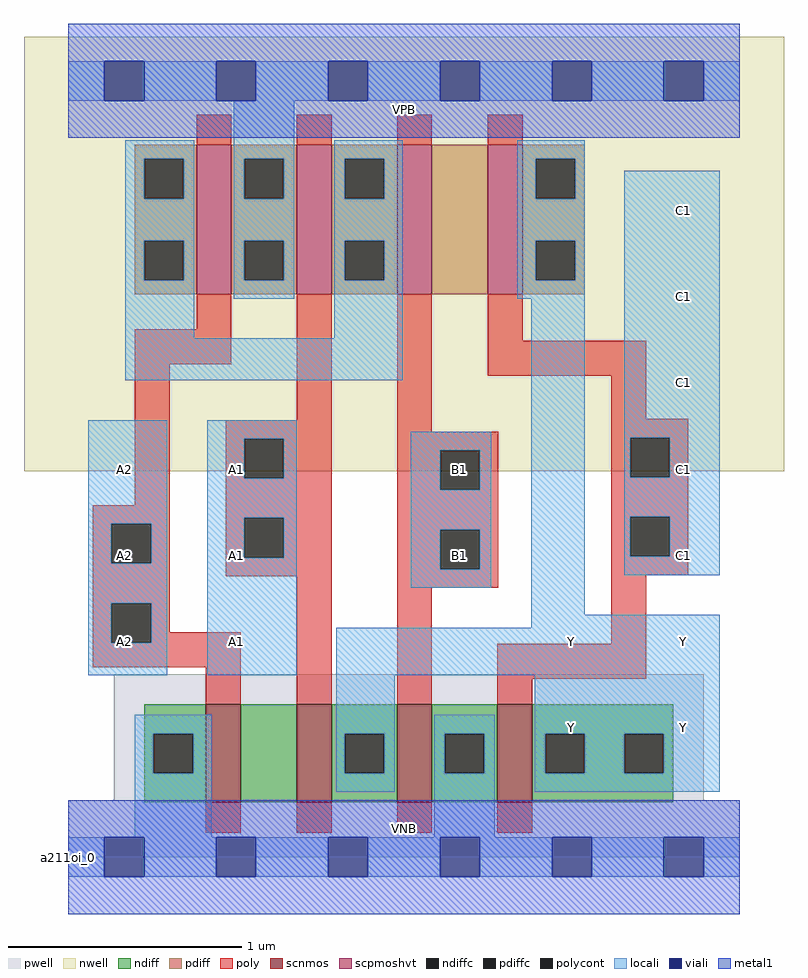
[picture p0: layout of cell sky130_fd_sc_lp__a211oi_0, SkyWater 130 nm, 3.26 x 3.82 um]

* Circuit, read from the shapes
.subckt sky130_fd_sc_lp__a211oi_0 A1 A2 B1 C1 VGND VNB VPB VPWR Y
XM1 n1 A2 VGND VNB sky130_fd_pr__nfet_01v8 w=0.42 l=0.15
XM2 Y A1 n1 VNB sky130_fd_pr__nfet_01v8 w=0.42 l=0.15
XM3 VGND B1 Y VNB sky130_fd_pr__nfet_01v8 w=0.42 l=0.15
XM4 Y C1 VGND VNB sky130_fd_pr__nfet_01v8 w=0.42 l=0.15
XM5 VPWR A2 n2 VPB sky130_fd_pr__pfet_01v8_hvt w=0.64 l=0.15
XM6 n2 A1 VPWR VPB sky130_fd_pr__pfet_01v8_hvt w=0.64 l=0.15
XM7 n3 B1 n2 VPB sky130_fd_pr__pfet_01v8_hvt w=0.64 l=0.15
XM8 Y C1 n3 VPB sky130_fd_pr__pfet_01v8_hvt w=0.64 l=0.15
.ends

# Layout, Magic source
magic
tech sky130A
magscale 1 2
<< nwell >>
rect -38 331 614 704
<< pwell >>
rect 39 49 545 157
rect 0 0 576 49
<< scnmos >>
rect 118 47 148 131
rect 196 47 226 131
rect 282 47 312 131
rect 368 47 398 131
<< scpmoshvt >>
rect 110 483 140 611
rect 196 483 226 611
rect 282 483 312 611
rect 360 483 390 611
<< ndiff >>
rect 65 106 118 131
rect 65 72 73 106
rect 107 72 118 106
rect 65 47 118 72
rect 148 47 196 131
rect 226 106 282 131
rect 226 72 237 106
rect 271 72 282 106
rect 226 47 282 72
rect 312 106 368 131
rect 312 72 323 106
rect 357 72 368 106
rect 312 47 368 72
rect 398 106 519 131
rect 398 72 409 106
rect 443 72 477 106
rect 511 72 519 106
rect 398 47 519 72
<< pdiff >>
rect 57 599 110 611
rect 57 565 65 599
rect 99 565 110 599
rect 57 529 110 565
rect 57 495 65 529
rect 99 495 110 529
rect 57 483 110 495
rect 140 599 196 611
rect 140 565 151 599
rect 185 565 196 599
rect 140 529 196 565
rect 140 495 151 529
rect 185 495 196 529
rect 140 483 196 495
rect 226 599 282 611
rect 226 565 237 599
rect 271 565 282 599
rect 226 529 282 565
rect 226 495 237 529
rect 271 495 282 529
rect 226 483 282 495
rect 312 483 360 611
rect 390 599 443 611
rect 390 565 401 599
rect 435 565 443 599
rect 390 529 443 565
rect 390 495 401 529
rect 435 495 443 529
rect 390 483 443 495
<< ndiffc >>
rect 73 72 107 106
rect 237 72 271 106
rect 323 72 357 106
rect 409 72 443 106
rect 477 72 511 106
<< pdiffc >>
rect 65 565 99 599
rect 65 495 99 529
rect 151 565 185 599
rect 151 495 185 529
rect 237 565 271 599
rect 237 495 271 529
rect 401 565 435 599
rect 401 495 435 529
<< poly >>
rect 110 611 140 637
rect 196 611 226 637
rect 282 611 312 637
rect 360 611 390 637
rect 110 453 140 483
rect 57 423 140 453
rect 57 302 87 423
rect 196 375 226 483
rect 21 286 87 302
rect 21 252 37 286
rect 71 252 87 286
rect 21 218 87 252
rect 135 359 226 375
rect 135 325 151 359
rect 185 325 226 359
rect 135 291 226 325
rect 135 257 151 291
rect 185 257 226 291
rect 135 241 226 257
rect 21 184 37 218
rect 71 193 87 218
rect 71 184 148 193
rect 21 163 148 184
rect 118 131 148 163
rect 196 131 226 241
rect 282 365 312 483
rect 360 443 390 483
rect 360 413 496 443
rect 466 376 496 413
rect 282 349 369 365
rect 282 315 319 349
rect 353 315 369 349
rect 282 281 369 315
rect 282 247 319 281
rect 353 247 369 281
rect 282 231 369 247
rect 466 360 532 376
rect 466 326 482 360
rect 516 326 532 360
rect 466 292 532 326
rect 466 258 482 292
rect 516 258 532 292
rect 466 242 532 258
rect 282 131 312 231
rect 466 183 496 242
rect 368 153 496 183
rect 368 131 398 153
rect 118 21 148 47
rect 196 21 226 47
rect 282 21 312 47
rect 368 21 398 47
<< polycont >>
rect 37 252 71 286
rect 151 325 185 359
rect 151 257 185 291
rect 37 184 71 218
rect 319 315 353 349
rect 319 247 353 281
rect 482 326 516 360
rect 482 258 516 292
<< locali >>
rect 0 649 31 683
rect 65 649 127 683
rect 161 649 223 683
rect 257 649 319 683
rect 353 649 415 683
rect 449 649 511 683
rect 545 649 576 683
rect 49 599 108 615
rect 49 565 65 599
rect 99 565 108 599
rect 49 529 108 565
rect 49 495 65 529
rect 99 495 108 529
rect 49 445 108 495
rect 142 599 194 649
rect 142 565 151 599
rect 185 565 194 599
rect 142 529 194 565
rect 142 495 151 529
rect 185 495 194 529
rect 142 479 194 495
rect 228 599 287 615
rect 228 565 237 599
rect 271 565 287 599
rect 228 529 287 565
rect 228 495 237 529
rect 271 495 287 529
rect 228 445 287 495
rect 385 599 443 615
rect 385 565 401 599
rect 435 565 443 599
rect 385 529 443 565
rect 385 495 401 529
rect 435 495 443 529
rect 385 479 443 495
rect 49 409 287 445
rect 17 286 85 375
rect 17 252 37 286
rect 71 252 85 286
rect 17 218 85 252
rect 17 184 37 218
rect 71 184 85 218
rect 17 156 85 184
rect 119 359 196 375
rect 119 325 151 359
rect 185 325 196 359
rect 119 291 196 325
rect 119 257 151 291
rect 185 257 196 291
rect 119 156 196 257
rect 294 349 363 365
rect 294 315 319 349
rect 353 315 363 349
rect 294 281 363 315
rect 294 247 319 281
rect 353 247 363 281
rect 294 231 363 247
rect 397 208 443 479
rect 477 360 559 589
rect 477 326 482 360
rect 516 326 559 360
rect 477 292 559 326
rect 477 258 482 292
rect 516 258 559 292
rect 477 242 559 258
rect 397 197 559 208
rect 230 156 559 197
rect 57 106 123 122
rect 57 72 73 106
rect 107 72 123 106
rect 57 17 123 72
rect 230 106 280 156
rect 230 72 237 106
rect 271 72 280 106
rect 230 56 280 72
rect 314 106 366 122
rect 314 72 323 106
rect 357 72 366 106
rect 314 17 366 72
rect 400 106 559 156
rect 400 72 409 106
rect 443 72 477 106
rect 511 72 559 106
rect 400 56 559 72
rect 0 -17 31 17
rect 65 -17 127 17
rect 161 -17 223 17
rect 257 -17 319 17
rect 353 -17 415 17
rect 449 -17 511 17
rect 545 -17 576 17
<< viali >>
rect 31 649 65 683
rect 127 649 161 683
rect 223 649 257 683
rect 319 649 353 683
rect 415 649 449 683
rect 511 649 545 683
rect 31 -17 65 17
rect 127 -17 161 17
rect 223 -17 257 17
rect 319 -17 353 17
rect 415 -17 449 17
rect 511 -17 545 17
<< metal1 >>
rect 0 683 576 715
rect 0 649 31 683
rect 65 649 127 683
rect 161 649 223 683
rect 257 649 319 683
rect 353 649 415 683
rect 449 649 511 683
rect 545 649 576 683
rect 0 617 576 649
rect 0 17 576 49
rect 0 -17 31 17
rect 65 -17 127 17
rect 161 -17 223 17
rect 257 -17 319 17
rect 353 -17 415 17
rect 449 -17 511 17
rect 545 -17 576 17
rect 0 -49 576 -17
<< labels >>
flabel pwell s 0 0 576 49 0 FreeSans 200 0 0 0 VNB
port 6 nsew ground bidirectional
flabel nwell s 0 617 576 666 0 FreeSans 200 0 0 0 VPB
port 7 nsew power bidirectional
rlabel comment s 0 0 0 0 4 a211oi_0
flabel metal1 s 0 617 576 666 0 FreeSans 340 0 0 0 VPWR
port 8 nsew power bidirectional
flabel metal1 s 0 0 576 49 0 FreeSans 340 0 0 0 VGND
port 5 nsew ground bidirectional
flabel locali s 127 168 161 202 0 FreeSans 340 0 0 0 A1
port 1 nsew signal input
flabel locali s 127 242 161 276 0 FreeSans 340 0 0 0 A1
port 1 nsew signal input
flabel locali s 127 316 161 350 0 FreeSans 340 0 0 0 A1
port 1 nsew signal input
flabel locali s 415 94 449 128 0 FreeSans 340 0 0 0 Y
port 9 nsew signal output
flabel locali s 511 94 545 128 0 FreeSans 340 0 0 0 Y
port 9 nsew signal output
flabel locali s 31 168 65 202 0 FreeSans 340 0 0 0 A2
port 2 nsew signal input
flabel locali s 31 242 65 276 0 FreeSans 340 0 0 0 A2
port 2 nsew signal input
flabel locali s 31 316 65 350 0 FreeSans 340 0 0 0 A2
port 2 nsew signal input
flabel locali s 319 242 353 276 0 FreeSans 340 0 0 0 B1
port 3 nsew signal input
flabel locali s 319 316 353 350 0 FreeSans 340 0 0 0 B1
port 3 nsew signal input
flabel locali s 511 242 545 276 0 FreeSans 340 0 0 0 C1
port 4 nsew signal input
flabel locali s 511 316 545 350 0 FreeSans 340 0 0 0 C1
port 4 nsew signal input
flabel locali s 511 390 545 424 0 FreeSans 340 0 0 0 C1
port 4 nsew signal input
flabel locali s 511 464 545 498 0 FreeSans 340 0 0 0 C1
port 4 nsew signal input
flabel locali s 511 538 545 572 0 FreeSans 340 0 0 0 C1
port 4 nsew signal input
flabel locali s 415 168 449 202 0 FreeSans 340 0 0 0 Y
port 9 nsew signal output
flabel locali s 511 168 545 202 0 FreeSans 340 0 0 0 Y
port 9 nsew signal output
<< properties >>
string LEFsite unit
string LEFclass CORE
string FIXED_BBOX 0 0 576 666
string GDS_FILE $PDKPATH/libs.ref/sky130_fd_sc_lp/gds/sky130_fd_sc_lp.gds
string LEFsymmetry X Y R90
string GDS_END 186464
string GDS_START 179524
<< end >>
